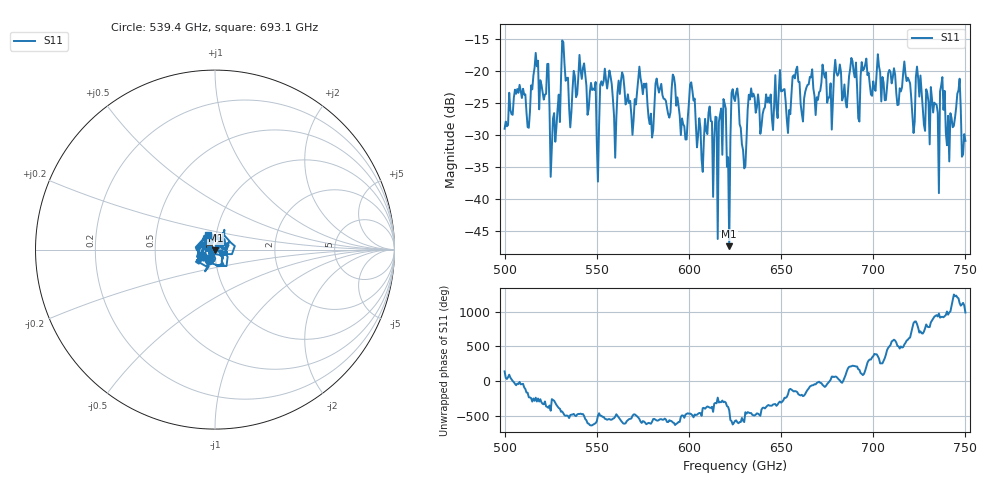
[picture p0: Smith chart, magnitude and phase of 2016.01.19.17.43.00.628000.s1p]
!Created with skrf (http://scikit-rf.org).
# GHz S RI R 50.0
!freq ReS11 ImS11
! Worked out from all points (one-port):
!   401 points, 500 GHz to 750 GHz, reference 50 ohm
!   lowest |S11| = -47.4 dB at 621.9 GHz (marker M1), VSWR 1.01, Z = 50.2 - j0.381 ohm
!   |S11| at or under -10 dB: start of sweep to end of sweep
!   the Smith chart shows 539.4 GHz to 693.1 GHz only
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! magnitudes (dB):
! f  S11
! 500 GHz  -29.0
! 513.1 GHz  -28.9
! 516.9 GHz  -17.2
! 526.2 GHz  -27.4
! 531.2 GHz  -15.3
! 535.6 GHz  -28.8
! 541.9 GHz  -21.2
! 550 GHz  -31.0
! 553.1 GHz  -22.3
! 560 GHz  -33.6
! 562.5 GHz  -23.6
! 593.8 GHz  -24.1
! 598.1 GHz  -30.7
! 601.9 GHz  -23.1
! 614.4 GHz  -27.2
! 618.8 GHz  -24.4
! 621.9 GHz  -47.4
! 625 GHz  -24.7
! 630 GHz  -35.2
! 633.8 GHz  -22.7
! 656.2 GHz  -20.9
! 687.5 GHz  -19.7
! 718.8 GHz  -21.1
! 734.4 GHz  -25.3
! 737.5 GHz  -21.0
! 740.6 GHz  -27.0
! 746.2 GHz  -23.1
! 750 GHz  -30.9
